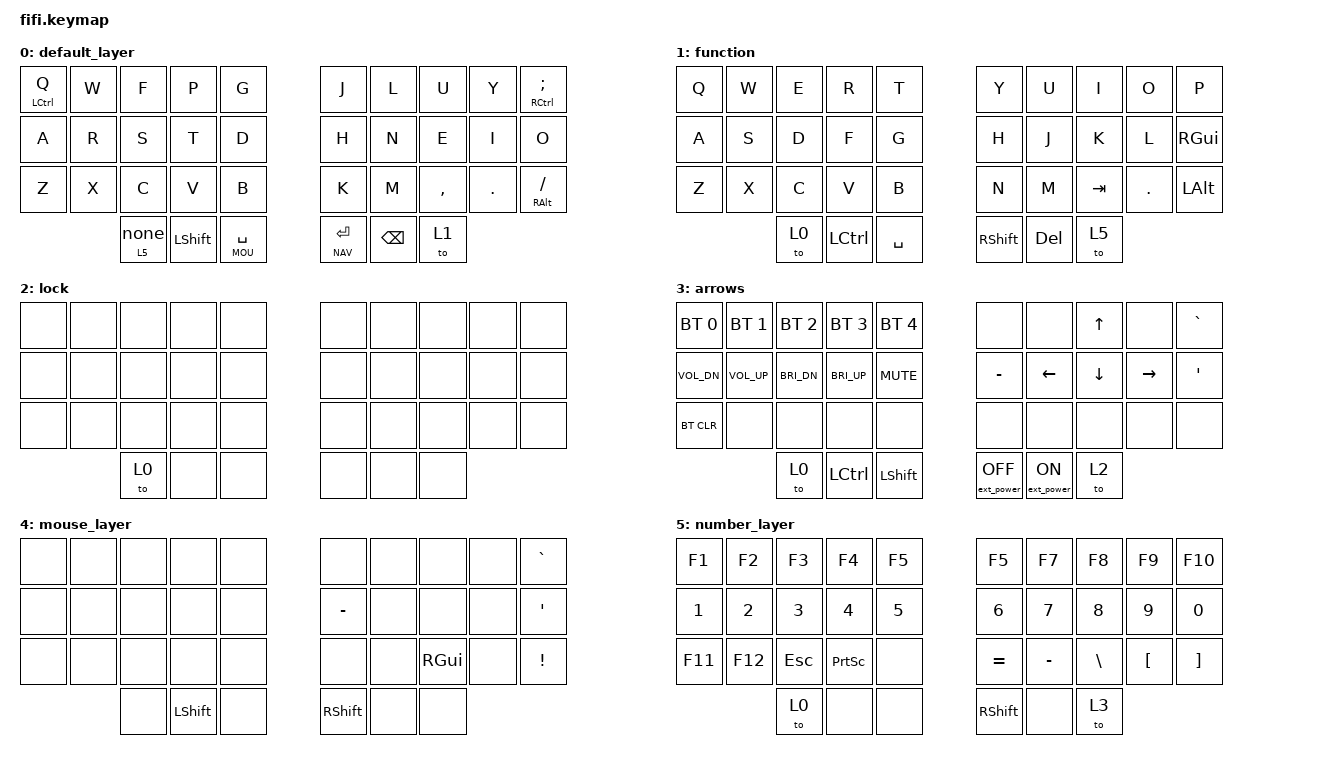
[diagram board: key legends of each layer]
#include <behaviors.dtsi>
#include <dt-bindings/zmk/keys.h>
#include <dt-bindings/zmk/bt.h>
#include <dt-bindings/zmk/ext_power.h>
#include <dt-bindings/zmk/outputs.h>

#define DEF 0
#define FUN 1
#define LOC 2
#define NAV 3
#define MOU 4
#define NUM 5

&lt {
  tapping-term-ms = <150>;
  quick_tap_ms = <150>;
};

/ {

  behaviors {
//    td0: tap_dance_0 {
//      compatible = "zmk,behavior-tap-dance";
//      label = "TAP_DANCE_0";
//      #binding-cells = <0>;
//      tapping-term-ms = <200>;
//      bindings = <&kp LSHIFT>, <&kp LCTRL>;
//    };
    hn: hold_none{
      compatible = "zmk,behavior-hold-tap";
      label = "HOLD_NONE";
      #binding-cells = <2>;
      tapping-term-ms = <150>;
      quick_tap_ms = <150>;
      flavor = "tap-preferred";
      bindings = <&mo>, <&none>;
    };
  };

  keymap {
    compatible = "zmk,keymap";
//done
    default_layer { 
      bindings = <
 &mt LCTRL Q &kp W      &kp F       &kp P        &kp G          &kp J       &kp L         &kp U       &kp Y      &mt RCTRL SEMI
 &kp A       &kp R      &kp S       &kp T        &kp D          &kp H       &kp N         &kp E       &kp I      &kp O
 &kp Z       &kp X      &kp C       &kp V        &kp B          &kp K       &kp M         &kp COMMA   &kp DOT    &mt RALT FSLH
                       &hn 5 0     &kp LSHIFT   &lt MOU SPACE  &lt NAV RET &kp BSPC      &to 1
      >;
    };
//done
    function {
      bindings = <
 &kp Q      &kp W      &kp E       &kp R        &kp T      &kp Y       &kp U         &kp I       &kp O      &kp P
 &kp A      &kp S      &kp D       &kp F        &kp G      &kp H       &kp J         &kp K       &kp L      &kp RGUI
 &kp Z      &kp X      &kp C       &kp V        &kp B      &kp N       &kp M         &kp TAB     &kp DOT    &kp LALT
                       &to 0       &kp LCTRL    &kp SPACE  &kp RSHIFT  &kp DEL       &to 5
      >;
    };
//done
    lock {
      bindings = <
 &none  &none  &none  &none  &none        &none  &none  &none &none  &none
 &none  &none  &none  &none  &none        &none  &none  &none &none  &none
 &none  &none  &none  &none  &none        &none  &none  &none &none  &none
               &to 0  &none  &none        &none  &none  &none
      >;
    };
//done
    arrows {
      bindings = <
 &bt BT_SEL 0  &bt BT_SEL 1 &bt BT_SEL 2    &bt BT_SEL 3  &bt BT_SEL 4      &none             &none             &kp UP   &none     &kp GRAVE
 &kp C_VOL_DN  &kp C_VOL_UP &kp C_BRI_DN    &kp C_BRI_UP  &kp C_MUTE        &kp MINUS         &kp LEFT          &kp DOWN &kp RIGHT &kp SQT
 &bt BT_CLR    &none        &none           &none         &none             &none             &none             &none    &none     &none
                            &to 0           &kp LCTRL     &kp LSHIFT        &ext_power EP_OFF &ext_power EP_ON  &to 2
      >;
    };
//done missing mouse keys
    mouse_layer {
      bindings = <
 &none  &none &none     &none       &none          &none       &none  &none    &none &kp GRAVE
 &none  &none &none     &none       &none          &kp MINUS   &none  &none    &none &kp SQT
 &none  &none &none     &none       &none          &none       &none  &kp RGUI &none &kp EXCL
              &none     &kp LSHIFT  &none          &kp RSHIFT  &none  &none
      >;
    };
//done
    number_layer {
      bindings = <
 &kp F1   &kp F2  &kp F3     &kp F4     &kp F5        &kp F5      &kp F7     &kp F8   &kp F9   &kp F10
 &kp N1   &kp N2  &kp N3     &kp N4     &kp N5        &kp N6      &kp N7     &kp N8   &kp N9   &kp N0
 &kp F11  &kp F12 &kp ESC    &kp PSCRN  &none         &kp EQUAL   &kp MINUS  &kp BSLH &kp LBKT &kp RBKT
                  &to 0      &none      &none         &kp RSHIFT  &none      &to 3
      >;
    };

  };
};
